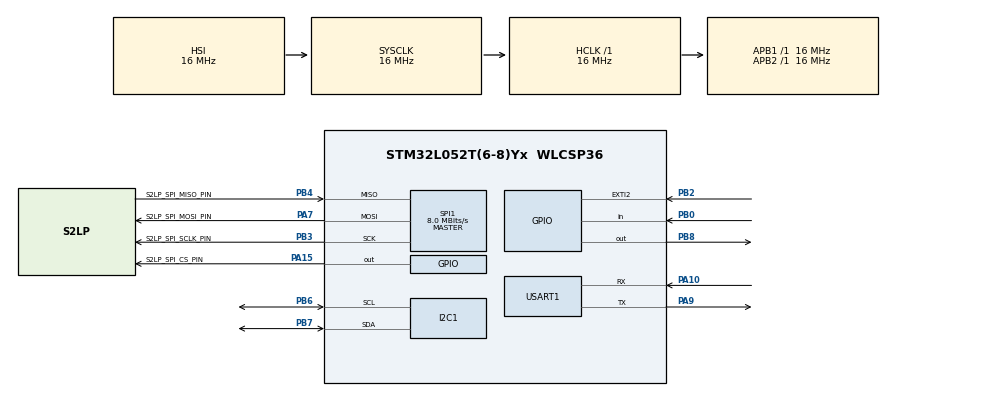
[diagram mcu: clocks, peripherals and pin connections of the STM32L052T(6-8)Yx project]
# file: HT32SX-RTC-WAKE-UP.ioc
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Dma.Request0=SPI1_TX
Dma.Request1=SPI1_RX
Dma.Request2=USART1_RX
Dma.Request3=USART1_TX
Dma.SPI1_RX.1.Direction=DMA_PERIPH_TO_MEMORY
Dma.SPI1_RX.1.Instance=DMA1_Channel2
Dma.SPI1_RX.1.MemDataAlignment=DMA_MDATAALIGN_BYTE
Dma.SPI1_RX.1.MemInc=DMA_MINC_ENABLE
Dma.SPI1_RX.1.Mode=DMA_NORMAL
Dma.SPI1_RX.1.PeriphDataAlignment=DMA_PDATAALIGN_BYTE
Dma.SPI1_RX.1.PeriphInc=DMA_PINC_DISABLE
Dma.SPI1_RX.1.Priority=DMA_PRIORITY_HIGH
Dma.SPI1_TX.0.Direction=DMA_MEMORY_TO_PERIPH
Dma.SPI1_TX.0.Instance=DMA1_Channel3
Dma.SPI1_TX.0.MemDataAlignment=DMA_MDATAALIGN_BYTE
Dma.SPI1_TX.0.MemInc=DMA_MINC_ENABLE
Dma.SPI1_TX.0.Mode=DMA_NORMAL
Dma.SPI1_TX.0.PeriphDataAlignment=DMA_PDATAALIGN_BYTE
Dma.SPI1_TX.0.PeriphInc=DMA_PINC_DISABLE
Dma.SPI1_TX.0.Priority=DMA_PRIORITY_HIGH
Dma.USART1_RX.2.Direction=DMA_PERIPH_TO_MEMORY
Dma.USART1_RX.2.Instance=DMA1_Channel5
Dma.USART1_RX.2.MemDataAlignment=DMA_MDATAALIGN_BYTE
Dma.USART1_RX.2.MemInc=DMA_MINC_ENABLE
Dma.USART1_RX.2.Mode=DMA_CIRCULAR
Dma.USART1_RX.2.PeriphDataAlignment=DMA_PDATAALIGN_BYTE
Dma.USART1_RX.2.PeriphInc=DMA_PINC_DISABLE
Dma.USART1_RX.2.Priority=DMA_PRIORITY_LOW
Dma.USART1_TX.3.Direction=DMA_MEMORY_TO_PERIPH
Dma.USART1_TX.3.Instance=DMA1_Channel4
Dma.USART1_TX.3.MemDataAlignment=DMA_MDATAALIGN_BYTE
Dma.USART1_TX.3.MemInc=DMA_MINC_ENABLE
Dma.USART1_TX.3.Mode=DMA_NORMAL
Dma.USART1_TX.3.PeriphDataAlignment=DMA_PDATAALIGN_BYTE
Dma.USART1_TX.3.PeriphInc=DMA_PINC_DISABLE
Dma.USART1_TX.3.Priority=DMA_PRIORITY_HIGH
I2C1.Timing=0x00303D5B
Mcu.Family=STM32L0
Mcu.Name=STM32L052T(6-8)Yx
Mcu.Package=WLCSP36
NVIC.DMA1_Channel2_3_IRQn=true\:1\:0\:true\:false\:true\:false\:true\:true
NVIC.DMA1_Channel4_5_6_7_IRQn=true\:0\:0\:false\:false\:true\:false\:true\:true
NVIC.EXTI2_3_IRQn=true\:0\:0\:false\:false\:true\:true\:true\:true
NVIC.RTC_IRQn=true\:1\:0\:true\:false\:true\:true\:true\:true
PA10.Mode=Asynchronous
PA10.Signal=USART1_RX
PA13.Mode=Serial_Wire
PA13.Signal=SYS_SWDIO
PA14.Mode=Serial_Wire
PA14.Signal=SYS_SWCLK
PA15.GPIO_Label=S2LP_SPI_CS_PIN
PA15.GPIO_PuPd=GPIO_PULLUP
PA15.GPIO_Speed=GPIO_SPEED_FREQ_HIGH
PA15.PinState=GPIO_PIN_SET
PA15.Signal=GPIO_Output
PA7.GPIO_Label=S2LP_SPI_MOSI_PIN
PA7.GPIO_PuPd=GPIO_PULLUP
PA7.GPIO_Speed=GPIO_SPEED_FREQ_HIGH
PA7.Mode=Full_Duplex_Master
PA7.Signal=SPI1_MOSI
PA9.Mode=Asynchronous
PA9.Signal=USART1_TX
PB0.GPIO_PuPd=GPIO_PULLUP
PB0.Signal=GPIO_Input
PB2.GPIO_ModeDefaultEXTI=GPIO_MODE_IT_FALLING
PB2.Signal=GPXTI2
PB3.GPIO_Label=S2LP_SPI_SCLK_PIN
PB3.GPIO_PuPd=GPIO_PULLUP
PB3.GPIO_Speed=GPIO_SPEED_FREQ_HIGH
PB3.Mode=Full_Duplex_Master
PB3.Signal=SPI1_SCK
PB4.GPIO_Label=S2LP_SPI_MISO_PIN
PB4.GPIO_PuPd=GPIO_PULLUP
PB4.GPIO_Speed=GPIO_SPEED_FREQ_HIGH
PB4.Mode=Full_Duplex_Master
PB4.Signal=SPI1_MISO
PB6.Mode=I2C
PB6.Signal=I2C1_SCL
PB7.Mode=I2C
PB7.Signal=I2C1_SDA
PB8.GPIO_Speed=GPIO_SPEED_FREQ_HIGH
PB8.Signal=GPIO_Output
ProjectManager.HeapSize=0x200
ProjectManager.StackSize=0x400
ProjectManager.TargetToolchain=STM32CubeIDE
RCC.AHBFreq_Value=16000000
RCC.APB1Freq_Value=16000000
RCC.APB1TimFreq_Value=16000000
RCC.APB2Freq_Value=16000000
RCC.APB2TimFreq_Value=16000000
RCC.HCLKFreq_Value=16000000
RCC.HSI16_VALUE=16000000
RCC.HSI48_VALUE=48000000
RCC.HSI_VALUE=16000000
RCC.LSE_VALUE=32768
RCC.MSI_VALUE=2097000
RCC.PLLDIV=RCC_PLLDIV_4
RCC.PLLMUL=RCC_PLLMUL_4
RCC.SYSCLKFreq_VALUE=16000000
RCC.SYSCLKSource=RCC_SYSCLKSOURCE_HSI
RCC.VCOOutputFreq_Value=64000000
RTC.AsynchPrediv=124
RTC.SynchPrediv=295
RTC.WakeUpCounter=1000
SPI1.CalculateBaudRate=8.0 MBits/s
SPI1.Direction=SPI_DIRECTION_2LINES
SPI1.Mode=SPI_MODE_MASTER
SPI1.VirtualType=VM_MASTER
USART1.VirtualMode-Asynchronous=VM_ASYNC
VP_RTC_VS_RTC_Activate.Mode=RTC_Enabled
VP_RTC_VS_RTC_Calendar.Mode=RTC_Calendar
VP_RTC_VS_RTC_WakeUp_intern.Mode=WakeUp
VP_TIM2_VS_ClockSourceINT.Mode=Internal
board=custom

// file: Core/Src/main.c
/* USER CODE BEGIN Header */
/**
 ******************************************************************************
 * @file           : main.c
 * @brief          : Main program body
 ******************************************************************************
 * @attention
 *
 * <h2><center>&copy; Copyright (c) 2019 STMicroelectronics.
 * All rights reserved.</center></h2>
 *
 * This software component is licensed by ST under BSD 3-Clause license,
 * the "License"; You may not use this file except in compliance with the
 * License. You may obtain a copy of the License at:
 *                        opensource.org/licenses/BSD-3-Clause
 *
 ******************************************************************************
 */
/* USER CODE END Header */
#include "main.h"
#include "dma.h"
#include "i2c.h"
#include "rtc.h"
#include "spi.h"
#include "tim.h"
#include "usart.h"
#include "gpio.h"

/* USER CODE BEGIN Includes */
#include "HT_mcu_api.h"
#include "HT_sigfox_api.h"
/* USER CODE END Includes */

/* USER CODE BEGIN PD */

#ifdef DOWNLINK_FLAG
static uint8_t downlink_request = 1;
#else
static uint8_t downlink_request = 0;
#endif
/* USER CODE END PD */

/* USER CODE BEGIN PV */
TIM_HandleTypeDef  Tim6_Handler={.Instance=TIM6};
/* USER CODE END PV */

void SystemClock_Config(void);
/* USER CODE BEGIN PFP */
void ST_Init(void);
/* USER CODE END PFP */

int main(void)
{
  /* USER CODE BEGIN 1 */
	sfx_u8 customer_data[] = {"Hello World"};
	sfx_u8 customer_response[8];
  /* USER CODE END 1 */

  /* MCU Configuration--------------------------------------------------------*/

  /* Reset of all peripherals, Initializes the Flash interface and the Systick. */
  HAL_Init();

  /* Configure the system clock */
  SystemClock_Config();

  /* Initialize all configured peripherals */
  MX_GPIO_Init();
  MX_DMA_Init();
  MX_RTC_Init();
  MX_SPI1_Init();
  MX_USART1_UART_Init();
  MX_TIM2_Init();
  MX_I2C1_Init();
  /* USER CODE BEGIN 2 */

	mcuConfig();

	/********** OPEN AND CONFIFIGURES SIGFOX LIBRARY IN RCZ2 *********************/
	/********** IN ORDER TO OPEN OTHER RCZS, SEE SIGFOX_API.h **/
	/********** BASICALLY CHANGES TO OTHER RC VALUE LIKE RCZ3 **/
	HT_SigfoxApi_configRegion(RCZ2);

  /* USER CODE END 2 */

  /* Infinite loop */
	while (1)
	{

    /* USER CODE BEGIN 3 */

		/* Set the wake up time to 5 seconds */
		HT_McuApi_EnableRTCWkp(10);
		HAL_Delay(50);

		printf("Sleeping...\n");

		HT_McuApi_enterDeepSleepMode();

		/* Send a frame after waking up */
		HT_SigfoxApi_sendFrame(customer_data, customer_response, downlink_request);
	}
  /* USER CODE END 3 */
}

void SystemClock_Config(void)
{
  RCC_OscInitTypeDef RCC_OscInitStruct = {0};
  RCC_ClkInitTypeDef RCC_ClkInitStruct = {0};
  RCC_PeriphCLKInitTypeDef PeriphClkInit = {0};

  /** Configure the main internal regulator output voltage
  */
  __HAL_PWR_VOLTAGESCALING_CONFIG(PWR_REGULATOR_VOLTAGE_SCALE1);

  /** Initializes the RCC Oscillators according to the specified parameters
  * in the RCC_OscInitTypeDef structure.
  */
  RCC_OscInitStruct.OscillatorType = RCC_OSCILLATORTYPE_HSI|RCC_OSCILLATORTYPE_LSI;
  RCC_OscInitStruct.HSIState = RCC_HSI_ON;
  RCC_OscInitStruct.HSICalibrationValue = RCC_HSICALIBRATION_DEFAULT;
  RCC_OscInitStruct.LSIState = RCC_LSI_ON;
  RCC_OscInitStruct.PLL.PLLState = RCC_PLL_NONE;
  if (HAL_RCC_OscConfig(&RCC_OscInitStruct) != HAL_OK)
  {
    Error_Handler();
  }

  /** Initializes the CPU, AHB and APB buses clocks
  */
  RCC_ClkInitStruct.ClockType = RCC_CLOCKTYPE_HCLK|RCC_CLOCKTYPE_SYSCLK
                              |RCC_CLOCKTYPE_PCLK1|RCC_CLOCKTYPE_PCLK2;
  RCC_ClkInitStruct.SYSCLKSource = RCC_SYSCLKSOURCE_HSI;
  RCC_ClkInitStruct.AHBCLKDivider = RCC_SYSCLK_DIV1;
  RCC_ClkInitStruct.APB1CLKDivider = RCC_HCLK_DIV1;
  RCC_ClkInitStruct.APB2CLKDivider = RCC_HCLK_DIV1;

  if (HAL_RCC_ClockConfig(&RCC_ClkInitStruct, FLASH_LATENCY_0) != HAL_OK)
  {
    Error_Handler();
  }
  PeriphClkInit.PeriphClockSelection = RCC_PERIPHCLK_USART1|RCC_PERIPHCLK_I2C1
                              |RCC_PERIPHCLK_RTC;
  PeriphClkInit.Usart1ClockSelection = RCC_USART1CLKSOURCE_PCLK2;
  PeriphClkInit.I2c1ClockSelection = RCC_I2C1CLKSOURCE_PCLK1;
  PeriphClkInit.RTCClockSelection = RCC_RTCCLKSOURCE_LSI;
  if (HAL_RCCEx_PeriphCLKConfig(&PeriphClkInit) != HAL_OK)
  {
    Error_Handler();
  }
}

/* USER CODE BEGIN 4 */

void mcuConfig(void) {
	ST_SFX_ERR stSfxRetErr;

	ST_Init();

	NVM_BoardDataType sfxConfiguration;
	stSfxRetErr = ST_Sigfox_Init(&sfxConfiguration, 0);

	if(stSfxRetErr != ST_SFX_ERR_NONE) {
		if(stSfxRetErr == ST_SFX_ERR_CREDENTIALS) {
			sfxConfiguration.id = 0;
			memset(sfxConfiguration.pac, 0x00, 8);
			sfxConfiguration.rcz = 0;

		}
	}

	/* Calibrate RTC in case of STM32*/
	ST_MCU_API_TimerCalibration(500);

	printf("Sigfox iMCP HT32SX\n");

	printf("ID: %.8X - PAC: ", (unsigned int)sfxConfiguration.id);

	for(uint16_t i = 0; i < sizeof(sfxConfiguration.pac); i++)
	{
		printf("%.2X", sfxConfiguration.pac[i]);
	}

	printf("\n");

	/*			SET S2LP XTAL FREQUENCY														*/
	/*			DO NOT CHANGE IT																	*/

	ST_RF_API_set_xtal_freq(50000000);

	/*			SET A PROPER FREQUENCY OFFSET											*/
	/*			THIS VALUE CAN BE FOUND IN CREDENTIALS 						*/

	ST_RF_API_set_freq_offset(sfxConfiguration.freqOffset);
	printf("Freq Offset %d \n", (int)sfxConfiguration.freqOffset);

	/*			SET LBT OFFSET																		*/
	/*			THIS VALUE CAN BE FOUND IN CREDENTIALS 						*/

	ST_RF_API_set_lbt_thr_offset(sfxConfiguration.lbtOffset);
	printf("LBT %d \n", (int)sfxConfiguration.lbtOffset);

	/*			SET RSSI OFFSET																		*/
	/*			THIS VALUE CAN BE FOUND IN CREDENTIALS 						*/

	ST_RF_API_set_rssi_offset(sfxConfiguration.rssiOffset);
	printf("RSSI %d \n", (int)sfxConfiguration.rssiOffset);
}

void ST_Init(void)
{
	/* Put the radio off */
	S2LPShutdownInit();
	HAL_Delay(10);
	S2LPShutdownExit();

	/* FEM Initialization */
	FEM_Init();
}

/* USER CODE END 4 */

void Error_Handler(void)
{
}
